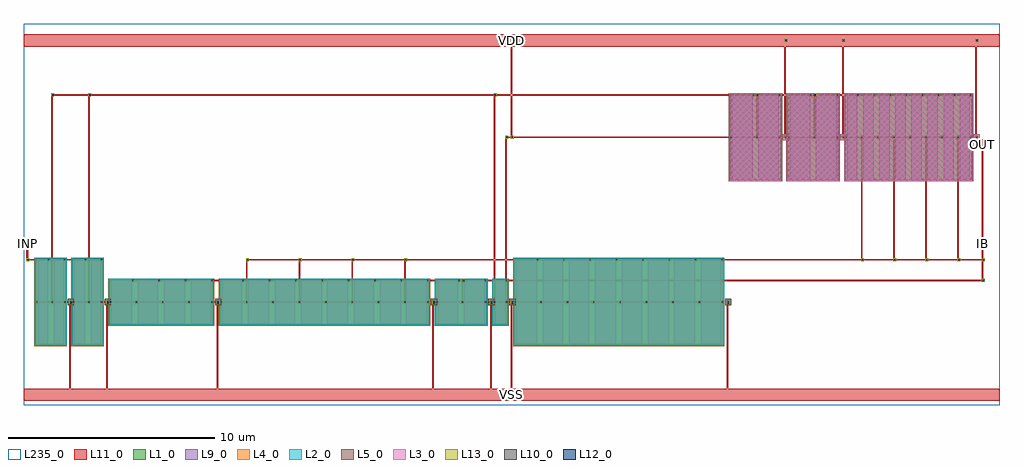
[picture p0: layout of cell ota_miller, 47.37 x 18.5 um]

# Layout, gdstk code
import gdstk
lib = gdstk.Library(unit=1e-6, precision=5e-10)
def R(c, l, rs):  # rectangles x0, y0, x1, y1
    for r in rs: c.add(gdstk.rectangle(r[:2], r[2:], *l))
def A(c, l, x, y, w, h, nx, ny, dx, dy):  # array of equal rectangles
    R(c, l, [(x+i*dx, y+j*dy, x+i*dx+w, y+j*dy+h) for i in range(nx) for j in range(ny)])
def P(c, l, *ps):  # polygons
    for p in ps: c.add(gdstk.Polygon(p, *l))
L1_0 = (1, 0)
L2_0 = (2, 0)
L3_0 = (3, 0)
L4_0 = (4, 0)
L5_0 = (5, 0)
L9_0 = (9, 0)
L10_0 = (10, 0)
L11_0 = (11, 0)
L12_0 = (12, 0)
L13_0 = (13, 0)
L235_0 = (235, 0)

ota_miller = lib.new_cell('ota_miller')
R(ota_miller, L1_0, [(0.6,2.93,2.04,7.07), (2.395,2.93,3.835,7.07), (23.83,2.93,33.95,7.07), (4.19,3.93,9.19,6.07), (9.545,3.93,19.665,6.07), (20.02,3.93,22.46,6.07), (22.815,3.93,23.475,6.07), (2.215,4.92,2.375,5.08), (4.01,4.92,4.17,5.08), (9.365,4.92,9.525,5.08), (19.84,4.92,20,5.08), (22.635,4.92,22.795,5.08), (23.65,4.92,23.81,5.08), (34.125,4.92,34.285,5.08), (34.305,10.93,36.745,15.07), (37.1,10.93,39.54,15.07), (39.895,10.93,46.015,15.07), (36.92,12.92,37.08,13.08), (39.715,12.92,39.875,13.08), (46.19,12.92,46.35,13.08)])
R(ota_miller, L2_0, [(0.545,2.875,2.095,7.125), (2.34,2.875,3.89,7.125), (23.775,2.875,34.005,7.125), (4.135,3.875,9.245,6.125), (9.49,3.875,19.72,6.125), (19.965,3.875,22.515,6.125), (22.76,3.875,23.53,6.125), (2.145,4.85,2.445,5.15), (3.94,4.85,4.24,5.15), (9.295,4.85,9.595,5.15), (19.77,4.85,20.07,5.15), (22.565,4.85,22.865,5.15), (23.58,4.85,23.88,5.15), (34.055,4.85,34.355,5.15)])
R(ota_miller, L3_0, [(34.25,10.875,36.8,15.125), (37.045,10.875,39.595,15.125), (39.84,10.875,46.07,15.125), (36.85,12.85,37.15,13.15), (39.645,12.85,39.945,13.15), (46.12,12.85,46.42,13.15)])
R(ota_miller, L4_0, [(0.53,2.86,2.11,7.14), (2.325,2.86,3.905,7.14), (23.76,2.86,34.02,7.14), (4.12,3.86,9.26,6.14), (9.475,3.86,19.735,6.14), (19.95,3.86,22.53,6.14), (22.745,3.86,23.545,6.14), (36.85,12.85,37.15,13.15), (39.645,12.85,39.945,13.15), (46.12,12.85,46.42,13.15)])
R(ota_miller, L5_0, [(2.145,4.85,2.445,5.15), (3.94,4.85,4.24,5.15), (9.295,4.85,9.595,5.15), (19.77,4.85,20.07,5.15), (22.565,4.85,22.865,5.15), (23.58,4.85,23.88,5.15), (34.055,4.85,34.355,5.15), (34.235,10.86,36.815,15.14), (37.03,10.86,39.61,15.14), (39.825,10.86,46.085,15.14)])
A(ota_miller, L9_0, 23.91, 2.945, 1, 4.11, 8, 1, 1.28, 0)
A(ota_miller, L9_0, 4.27, 3.945, 1, 2.11, 4, 1, 1.28, 0)
A(ota_miller, L9_0, 9.625, 3.945, 1, 2.11, 8, 1, 1.28, 0)
A(ota_miller, L9_0, 39.975, 10.945, 0.5, 4.11, 8, 1, 0.78, 0)
R(ota_miller, L9_0, [(0.68,2.945,1.18,7.055), (1.46,2.945,1.96,7.055), (2.475,2.945,2.975,7.055), (3.255,2.945,3.755,7.055), (20.1,3.945,21.1,6.055), (21.38,3.945,22.38,6.055), (22.895,3.945,23.395,6.055), (34.385,10.945,35.385,15.055), (35.665,10.945,36.665,15.055), (37.18,10.945,38.18,15.055), (38.46,10.945,39.46,15.055)])
A(ota_miller, L10_0, 14.645, 4.97, 0.065, 0.065, 4, 1, 1.28, 0)
A(ota_miller, L10_0, 25.09, 4.97, 0.06, 0.065, 3, 1, 1.28, 0)
A(ota_miller, L10_0, 28.93, 4.97, 0.065, 0.065, 4, 1, 1.28, 0)
A(ota_miller, L10_0, 5.27, 6.02, 0.065, 0.07, 4, 1, 1.28, 0)
A(ota_miller, L10_0, 10.625, 6.02, 0.065, 0.07, 8, 1, 1.28, 0)
A(ota_miller, L10_0, 24.91, 7.02, 0.065, 0.07, 8, 1, 1.28, 0)
A(ota_miller, L10_0, 40.65, 12.97, 0.065, 0.06, 7, 1, 0.78, 0)
A(ota_miller, L10_0, 40.475, 15.02, 0.065, 0.065, 8, 1, 0.78, 0)
R(ota_miller, L10_0, [(0.61,4.97,0.675,5.035), (1.36,4.97,1.42,5.035), (1.97,4.97,2.035,5.035), (2.26,4.97,2.325,5.035), (2.4,4.97,2.465,5.035), (3.15,4.97,3.215,5.035), (3.76,4.97,3.825,5.035), (4.06,4.97,4.125,5.035), (4.195,4.97,4.26,5.035), (5.45,4.97,5.51,5.035), (6.725,4.97,6.79,5.035), (8.005,4.97,8.07,5.035), (9.115,4.97,9.18,5.035), (9.41,4.97,9.475,5.035), (9.55,4.97,9.615,5.035), (10.8,4.97,10.865,5.035), (12.08,4.97,12.145,5.035), (13.36,4.97,13.43,5.035), (19.595,4.97,19.66,5.035), (19.89,4.97,19.955,5.035), (20.03,4.97,20.095,5.035), (21.28,4.97,21.345,5.035), (22.39,4.97,22.455,5.035), (22.68,4.97,22.75,5.035), (22.82,4.97,22.89,5.035), (23.4,4.97,23.47,5.035), (23.695,4.97,23.76,5.035), (23.84,4.97,23.9,5.035), (33.88,4.97,33.94,5.035), (34.17,4.97,34.235,5.035), (21.1,6.02,21.165,6.09), (22.38,6.02,22.445,6.09), (23.395,6.02,23.46,6.09), (1.18,7.02,1.245,7.09), (1.96,7.02,2.025,7.09), (2.975,7.02,3.04,7.09), (3.755,7.02,3.82,7.09), (34.31,12.97,34.375,13.03), (35.56,12.97,35.625,13.03), (36.67,12.97,36.735,13.03), (36.965,12.97,37.03,13.03), (37.105,12.97,37.17,13.03), (38.355,12.97,38.42,13.03), (39.465,12.97,39.53,13.03), (39.76,12.97,39.825,13.03), (39.9,12.97,39.965,13.03), (45.94,12.97,46.005,13.03), (46.235,12.97,46.3,13.03), (35.385,15.02,35.45,15.085), (36.665,15.02,36.73,15.085), (38.18,15.02,38.245,15.085), (39.46,15.02,39.525,15.085)])
A(ota_miller, L11_0, 5.41, 4.93, 0.135, 0.14, 3, 1, 1.28, 0)
A(ota_miller, L11_0, 14.61, 4.93, 0.135, 0.14, 4, 1, 1.28, 0)
A(ota_miller, L11_0, 25.05, 4.93, 0.14, 0.14, 4, 1, 1.28, 0)
A(ota_miller, L11_0, 30.175, 4.93, 0.135, 0.14, 3, 1, 1.28, 0)
A(ota_miller, L11_0, 10.8, 5, 0.07, 2.055, 4, 1, 2.56, 0)
A(ota_miller, L11_0, 5.235, 5.99, 0.135, 0.13, 4, 1, 1.28, 0)
A(ota_miller, L11_0, 10.59, 5.99, 0.135, 0.13, 8, 1, 1.28, 0)
A(ota_miller, L11_0, 5.27, 6.02, 0.065, 0.07, 4, 1, 1.28, 0)
A(ota_miller, L11_0, 10.625, 6.02, 0.065, 0.07, 8, 1, 1.28, 0)
A(ota_miller, L11_0, 10.8, 6.985, 0.14, 0.14, 4, 1, 2.56, 0)
A(ota_miller, L11_0, 40.65, 6.985, 0.14, 0.14, 4, 1, 1.56, 0)
A(ota_miller, L11_0, 24.875, 6.99, 0.135, 0.13, 8, 1, 1.28, 0)
A(ota_miller, L11_0, 24.91, 7.02, 0.065, 0.07, 8, 1, 1.28, 0)
A(ota_miller, L11_0, 40.65, 7.055, 0.07, 5.945, 4, 1, 1.56, 0)
A(ota_miller, L11_0, 40.615, 12.93, 0.135, 0.135, 4, 1, 0.78, 0)
A(ota_miller, L11_0, 43.74, 12.93, 0.13, 0.135, 3, 1, 0.78, 0)
A(ota_miller, L11_0, 42.99, 12.97, 0.07, 0.06, 4, 1, 0.78, 0)
A(ota_miller, L11_0, 40.44, 14.985, 0.135, 0.135, 8, 1, 0.78, 0)
A(ota_miller, L11_0, 40.475, 15.02, 0.065, 0.065, 8, 1, 0.78, 0)
R(ota_miller, L11_0, [(0,0.2,47.37,0.8), (0,0.2,47.37,0.8), (2.23,0.47,2.295,0.53), (4.025,0.47,4.09,0.53), (9.38,0.47,9.445,0.53), (19.855,0.47,19.92,0.53), (22.65,0.47,22.715,0.53), (23.65,0.47,23.72,0.53), (23.665,0.47,23.73,0.53), (34.14,0.47,34.205,0.53), (2.23,0.5,2.295,4.97), (4.02,0.5,4.09,4.97), (9.375,0.5,9.45,4.97), (19.85,0.5,19.92,4.97), (22.65,0.5,22.72,4.97), (23.65,0.5,23.72,5), (23.66,0.5,23.73,4.97), (34.14,0.5,34.21,4.97), (2.23,4.9,2.37,5.035), (4.02,4.9,4.16,5.035), (9.375,4.9,9.52,5.035), (19.85,4.9,19.99,5.035), (22.65,4.9,22.79,5.035), (23.66,4.9,23.8,5.035), (34.14,4.9,34.28,5.035), (0.57,4.93,0.71,5.07), (1.32,4.93,1.46,5.07), (1.93,4.93,2.065,5.07), (2.225,4.93,2.36,5.07), (2.365,4.93,2.5,5.07), (3.115,4.93,3.25,5.07), (3.725,4.93,3.86,5.07), (4.02,4.93,4.155,5.07), (4.16,4.93,4.295,5.07), (9.08,4.93,9.215,5.07), (9.375,4.93,9.51,5.07), (9.515,4.93,9.65,5.07), (10.765,4.93,10.9,5.07), (12.05,4.93,12.18,5.07), (13.33,4.93,13.46,5.07), (19.56,4.93,19.695,5.07), (19.855,4.93,19.99,5.07), (19.995,4.93,20.13,5.07), (21.245,4.93,21.38,5.07), (22.35,4.93,22.49,5.07), (22.65,4.93,22.78,5.07), (22.79,4.93,22.925,5.07), (23.37,4.93,23.5,5.07), (23.65,4.93,23.79,5.07), (23.66,4.93,23.8,5.07), (23.8,4.93,23.94,5.07), (33.845,4.93,33.98,5.07), (34.14,4.93,34.27,5.07), (2.23,4.935,2.295,5), (4.025,4.935,4.09,5), (9.38,4.935,9.445,5), (19.855,4.935,19.92,5), (22.65,4.935,22.715,5), (23.665,4.935,23.73,5), (34.14,4.935,34.205,5), (0.61,4.97,0.675,5.035), (0.64,4.97,8.04,5.035), (1.36,4.97,1.42,5.035), (1.97,4.97,2.035,5.035), (2.4,4.97,2.465,5.035), (3.15,4.97,3.22,5.035), (3.76,4.97,3.825,5.035), (4.2,4.97,4.265,5.035), (4.23,4.97,23.685,5.035), (5.45,4.97,5.515,5.035), (6.73,4.97,6.79,5.035), (8.005,4.97,8.07,5.035), (9.12,4.97,9.18,5.035), (9.55,4.97,9.62,5.035), (10.8,4.97,10.87,5.035), (12.08,4.97,12.145,5.035), (13.36,4.97,13.425,5.035), (14.64,4.97,14.71,5.035), (15.92,4.97,15.985,5.035), (17.2,4.97,17.27,5.035), (18.485,4.97,18.55,5.035), (19.59,4.97,19.66,5.035), (20.03,4.97,20.09,5.035), (21.28,4.97,21.34,5.035), (22.39,4.97,22.455,5.035), (22.82,4.97,22.89,5.035), (23.4,4.97,23.47,5.035), (23.435,4.97,33.91,5.035), (23.84,4.97,23.905,5.035), (25.09,4.97,25.155,5.035), (26.37,4.97,26.43,5.035), (27.65,4.97,27.71,5.035), (28.93,4.97,28.995,5.035), (30.21,4.97,30.27,5.035), (31.49,4.97,31.55,5.035), (32.765,4.97,32.83,5.035), (33.875,4.97,33.94,5.035), (1.355,5,1.425,15.055), (3.15,5,3.22,15.055), (21.275,5,21.345,6.055), (22.82,5,22.89,15.055), (21.275,5.985,21.415,6.125), (46.52,5.985,46.66,6.125), (21.065,5.99,21.2,6.12), (22.345,5.99,22.48,6.12), (23.36,5.99,23.495,6.12), (5.3,6.02,46.55,6.09), (21.1,6.02,21.165,6.09), (22.38,6.02,22.445,6.09), (23.395,6.02,23.46,6.09), (23.39,6.055,23.46,13), (46.52,6.055,46.59,7.85), (0.145,6.985,0.285,7.125), (0.145,6.985,0.285,7.125), (46.52,6.985,46.66,7.125), (1.145,6.99,1.28,7.12), (1.925,6.99,2.06,7.12), (2.94,6.99,3.075,7.12), (3.72,6.99,3.855,7.12), (0.15,7,0.215,7.5), (0.18,7.02,3.79,7.09), (0.18,7.02,1.99,7.09), (1.18,7.02,1.245,7.09), (1.96,7.02,2.025,7.09), (2.975,7.02,3.04,7.09), (3.755,7.02,3.82,7.09), (10.835,7.02,46.55,7.09), (0.145,7.055,0.22,7.85), (0.145,7.055,0.22,7.25), (46.52,7.055,46.59,12.65), (0.15,7.22,0.215,7.28), (0.15,7.6,0.215,8.1), (46.52,7.6,46.585,8.1), (0.15,7.82,0.215,7.88), (46.52,7.82,46.585,7.88), (46.52,12.4,46.585,12.9), (46.52,12.62,46.585,12.68), (23.39,12.93,23.53,13.07), (23.65,12.93,23.79,13.07), (34.28,12.93,34.41,13.065), (35.53,12.93,35.66,13.065), (36.64,12.93,36.77,13.065), (36.93,12.93,37.065,13.065), (37.07,12.93,37.205,13.065), (38.32,12.93,38.455,13.065), (39.43,12.93,39.565,13.065), (39.725,12.93,39.86,13.065), (39.865,12.93,40,13.065), (45.91,12.93,46.04,13.065), (46.2,12.93,46.335,13.065), (36.935,12.935,37,13), (39.73,12.935,39.795,13), (46.205,12.935,46.27,13), (23.43,12.97,45.975,13.03), (34.31,12.97,34.375,13.03), (35.56,12.97,35.625,13.03), (36.67,12.97,36.735,13.03), (36.935,12.97,37.005,17.7), (37.11,12.97,37.17,13.03), (38.36,12.97,38.42,13.03), (39.47,12.97,39.53,13.03), (39.73,12.97,39.8,17.7), (39.905,12.97,39.97,13.03), (40.655,12.97,40.72,13.03), (41.43,12.97,41.5,13.03), (42.21,12.97,42.275,13.03), (45.94,12.97,46.01,13.03), (46.2,12.97,46.27,17.7), (23.65,13,23.72,17.7), (35.56,13,35.63,15.055), (38.355,13,38.425,15.055), (1.355,14.985,1.495,15.125), (3.15,14.985,3.29,15.125), (22.82,14.985,22.96,15.125), (35.35,14.985,35.485,15.12), (35.56,14.985,35.7,15.125), (36.63,14.985,36.765,15.12), (38.145,14.985,38.28,15.12), (38.355,14.985,38.495,15.125), (39.425,14.985,39.56,15.12), (1.39,15.02,39.49,15.085), (3.185,15.02,45.97,15.085), (35.385,15.02,35.45,15.085), (36.665,15.02,36.73,15.085), (38.18,15.02,38.245,15.085), (39.46,15.02,39.525,15.085), (0,17.4,47.37,18), (0,17.4,47.37,18), (36.935,17.63,37.075,17.77), (39.73,17.63,39.87,17.77), (46.2,17.63,46.34,17.77), (23.65,17.67,23.72,17.735), (36.935,17.67,37,17.735), (39.73,17.67,39.795,17.735), (46.205,17.67,46.27,17.735)])
P(ota_miller, L11_0, [(36.97,17.67),(36.97,17.735),(36.97,17.735),(36.97,17.67)],
  [(39.76,17.67),(39.76,17.735),(39.76,17.735),(39.76,17.67)],
  [(46.24,17.67),(46.24,17.735),(46.24,17.735),(46.24,17.67)],
  [(19.89,4.935),(19.89,5),(19.89,5),(19.89,4.935)],
  [(22.68,4.935),(22.68,5),(22.68,5),(22.68,4.935)],
  [(2.26,4.935),(2.26,5),(2.26,5),(2.26,4.935)],
  [(4.06,4.935),(4.06,5),(4.06,5),(4.06,4.935)],
  [(9.41,4.935),(9.41,5),(9.41,5),(9.41,4.935)],
  [(23.7,4.935),(23.7,5),(23.7,5),(23.7,4.935)],
  [(34.17,4.935),(34.17,5),(34.17,5),(34.17,4.935)])
A(ota_miller, L12_0, 10.835, 7.02, 0.07, 0.07, 4, 1, 2.56, 0)
A(ota_miller, L12_0, 40.685, 7.02, 0.07, 0.07, 4, 1, 1.56, 0)
R(ota_miller, L12_0, [(2.26,4.93,2.33,5.005), (4.06,4.93,4.13,5.005), (9.41,4.93,9.48,5.005), (19.89,4.93,19.96,5.005), (22.68,4.93,22.75,5.005), (23.7,4.93,23.77,5.005), (34.17,4.93,34.24,5.005), (23.685,4.965,23.755,5.035), (21.31,6.02,21.38,6.09), (46.55,6.02,46.62,6.09), (0.18,7.02,0.25,7.09), (0.18,7.02,0.25,7.09), (46.55,7.02,46.62,7.09), (23.43,12.965,23.5,13.035), (23.685,12.965,23.755,13.035), (1.39,15.02,1.46,15.09), (3.185,15.02,3.255,15.09), (22.855,15.02,22.925,15.09), (35.595,15.02,35.665,15.09), (38.39,15.02,38.46,15.09), (36.97,17.665,37.04,17.735), (39.76,17.665,39.835,17.735), (46.24,17.665,46.31,17.735)])
A(ota_miller, L13_0, 10.8, 6.985, 0.14, 0.14, 4, 1, 2.56, 0)
A(ota_miller, L13_0, 40.65, 6.985, 0.14, 0.14, 4, 1, 1.56, 0)
R(ota_miller, L13_0, [(2.23,4.9,2.37,5.035), (4.02,4.9,4.16,5.035), (9.375,4.9,9.52,5.035), (19.85,4.9,19.99,5.035), (22.65,4.9,22.79,5.035), (23.66,4.9,23.8,5.035), (34.14,4.9,34.28,5.035), (23.65,4.93,23.79,5.07), (21.275,5.985,21.415,6.125), (46.52,5.985,46.66,6.125), (0.145,6.985,0.285,7.125), (0.145,6.985,0.285,7.125), (46.52,6.985,46.66,7.125), (23.39,12.93,23.53,13.07), (23.65,12.93,23.79,13.07), (1.355,14.985,1.495,15.125), (3.15,14.985,3.29,15.125), (22.82,14.985,22.96,15.125), (35.56,14.985,35.7,15.125), (38.355,14.985,38.495,15.125), (36.935,17.63,37.075,17.77), (39.73,17.63,39.87,17.77), (46.2,17.63,46.34,17.77)])
R(ota_miller, L235_0, [(0,0,47.37,18.5)])
ota_miller.add(gdstk.Label('VDD', (23.685,17.7), layer=11, texttype=1))
ota_miller.add(gdstk.Label('VSS', (23.685,0.5), layer=11, texttype=1))
ota_miller.add(gdstk.Label('INP', (0.18,7.85), layer=11, texttype=1))
ota_miller.add(gdstk.Label('INN', (0.18,7.25), layer=11, texttype=1))
ota_miller.add(gdstk.Label('IB', (46.55,7.85), layer=11, texttype=1))
ota_miller.add(gdstk.Label('OUT', (46.55,12.65), layer=11, texttype=1))

lib.write_gds('ota_miller.gds')
